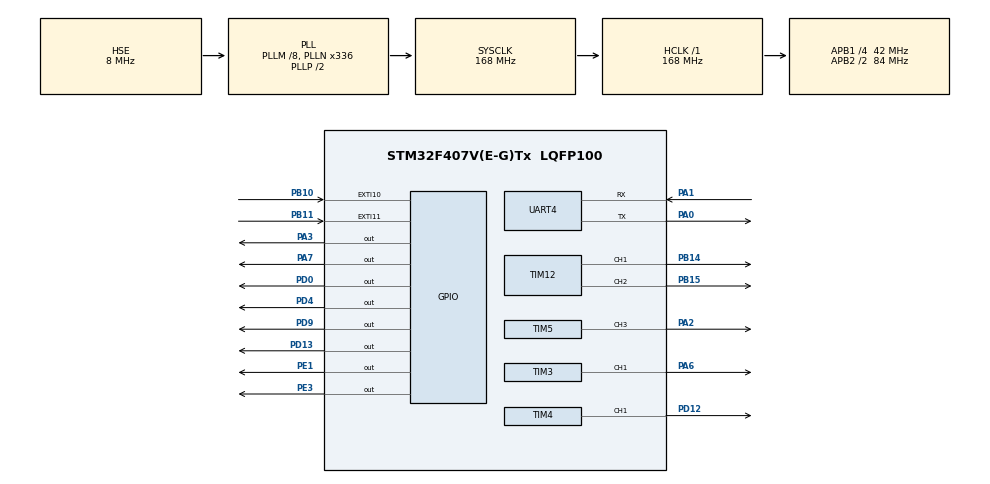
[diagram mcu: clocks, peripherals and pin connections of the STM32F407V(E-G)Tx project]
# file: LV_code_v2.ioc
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Dma.Request0=UART4_TX
Dma.Request1=UART4_RX
Dma.UART4_RX.1.Direction=DMA_PERIPH_TO_MEMORY
Dma.UART4_RX.1.FIFOMode=DMA_FIFOMODE_DISABLE
Dma.UART4_RX.1.Instance=DMA1_Stream2
Dma.UART4_RX.1.MemDataAlignment=DMA_MDATAALIGN_BYTE
Dma.UART4_RX.1.MemInc=DMA_MINC_ENABLE
Dma.UART4_RX.1.Mode=DMA_NORMAL
Dma.UART4_RX.1.PeriphDataAlignment=DMA_PDATAALIGN_BYTE
Dma.UART4_RX.1.PeriphInc=DMA_PINC_DISABLE
Dma.UART4_RX.1.Priority=DMA_PRIORITY_LOW
Dma.UART4_TX.0.Direction=DMA_MEMORY_TO_PERIPH
Dma.UART4_TX.0.FIFOMode=DMA_FIFOMODE_DISABLE
Dma.UART4_TX.0.Instance=DMA1_Stream4
Dma.UART4_TX.0.MemDataAlignment=DMA_MDATAALIGN_BYTE
Dma.UART4_TX.0.MemInc=DMA_MINC_ENABLE
Dma.UART4_TX.0.Mode=DMA_NORMAL
Dma.UART4_TX.0.PeriphDataAlignment=DMA_PDATAALIGN_BYTE
Dma.UART4_TX.0.PeriphInc=DMA_PINC_DISABLE
Dma.UART4_TX.0.Priority=DMA_PRIORITY_LOW
Mcu.Family=STM32F4
Mcu.Name=STM32F407V(E-G)Tx
Mcu.Package=LQFP100
NVIC.DMA1_Stream2_IRQn=true\:4\:0\:true\:false\:true\:false
NVIC.DMA1_Stream4_IRQn=true\:4\:0\:true\:false\:true\:false
NVIC.EXTI15_10_IRQn=true\:0\:0\:false\:false\:true\:true
NVIC.PriorityGroup=NVIC_PRIORITYGROUP_4
NVIC.TIM3_IRQn=true\:0\:0\:false\:false\:true\:true
NVIC.TIM4_IRQn=true\:0\:0\:false\:false\:true\:true
NVIC.TIM5_IRQn=true\:0\:0\:false\:false\:true\:true
NVIC.TIM8_TRG_COM_TIM14_IRQn=true\:1\:0\:true\:false\:true\:true
NVIC.UART4_IRQn=true\:4\:0\:true\:false\:true\:true
PA0-WKUP.Mode=Asynchronous
PA0-WKUP.Signal=UART4_TX
PA1.Mode=Asynchronous
PA1.Signal=UART4_RX
PA2.Signal=S_TIM5_CH3
PA3.Signal=GPIO_Output
PA6.Signal=S_TIM3_CH1
PA7.Signal=GPIO_Output
PB10.GPIO_ModeDefaultEXTI=GPIO_MODE_IT_FALLING
PB10.Signal=GPXTI10
PB11.GPIO_ModeDefaultEXTI=GPIO_MODE_IT_FALLING
PB11.Signal=GPXTI11
PB14.Signal=S_TIM12_CH1
PB15.Signal=S_TIM12_CH2
PD0.Signal=GPIO_Output
PD12.Signal=S_TIM4_CH1
PD13.Signal=GPIO_Output
PD4.Signal=GPIO_Output
PD9.Signal=GPIO_Output
PE1.Signal=GPIO_Output
PE3.Signal=GPIO_Output
PH0-OSC_IN.Mode=HSE-External-Oscillator
PH0-OSC_IN.Signal=RCC_OSC_IN
PH1-OSC_OUT.Mode=HSE-External-Oscillator
PH1-OSC_OUT.Signal=RCC_OSC_OUT
ProjectManager.HeapSize=0x200
ProjectManager.StackSize=0x400
ProjectManager.TargetToolchain=MDK-ARM V5
RCC.48MHZClocksFreq_Value=84000000
RCC.AHBFreq_Value=168000000
RCC.APB1CLKDivider=RCC_HCLK_DIV4
RCC.APB1Freq_Value=42000000
RCC.APB1TimFreq_Value=84000000
RCC.APB2CLKDivider=RCC_HCLK_DIV2
RCC.APB2Freq_Value=84000000
RCC.APB2TimFreq_Value=168000000
RCC.CortexFreq_Value=168000000
RCC.HCLKFreq_Value=168000000
RCC.HSE_VALUE=8000000
RCC.HSI_VALUE=16000000
RCC.LSE_VALUE=32768
RCC.PLLM=8
RCC.PLLN=336
RCC.PLLSourceVirtual=RCC_PLLSOURCE_HSE
RCC.SYSCLKFreq_VALUE=168000000
RCC.SYSCLKSource=RCC_SYSCLKSOURCE_PLLCLK
RCC.VCOOutputFreq_Value=336000000
SH.S_TIM12_CH1.0=TIM12_CH1,PWM Generation1 CH1
SH.S_TIM12_CH2.0=TIM12_CH2,PWM Generation2 CH2
SH.S_TIM3_CH1.0=TIM3_CH1,PWM Generation1 CH1
SH.S_TIM4_CH1.0=TIM4_CH1,PWM Generation1 CH1
SH.S_TIM5_CH3.0=TIM5_CH3,PWM Generation3 CH3
TIM12.Channel-PWM\ Generation1\ CH1=TIM_CHANNEL_1
TIM12.Channel-PWM\ Generation2\ CH2=TIM_CHANNEL_2
TIM14.Period=10000
TIM3.Channel-PWM\ Generation1\ CH1=TIM_CHANNEL_1
TIM3.CounterMode=TIM_COUNTERMODE_DOWN
TIM3.Period=0xFFFF
TIM3.Pulse-PWM\ Generation1\ CH1=168
TIM4.Channel-PWM\ Generation1\ CH1=TIM_CHANNEL_1
TIM4.CounterMode=TIM_COUNTERMODE_DOWN
TIM4.Period=0xFFFF
TIM4.Pulse-PWM\ Generation1\ CH1=168
TIM5.Channel-PWM\ Generation3\ CH3=TIM_CHANNEL_3
TIM5.CounterMode=TIM_COUNTERMODE_DOWN
TIM5.Period=0xFFFF
TIM5.Pulse-PWM\ Generation3\ CH3=168
UART4.VirtualMode=Asynchronous
VP_TIM12_VS_ClockSourceINT.Mode=Internal
VP_TIM14_VS_ClockSourceINT.Mode=Enable_Timer
VP_TIM3_VS_ClockSourceINT.Mode=Internal
VP_TIM4_VS_ClockSourceINT.Mode=Internal
VP_TIM5_VS_ClockSourceINT.Mode=Internal
board=LV_code_v2

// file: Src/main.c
/**
  ******************************************************************************
  * @file           : main.c
  * @brief          : Main program body
  ******************************************************************************
  ** This notice applies to any and all portions of this file
  * that are not between comment pairs USER CODE BEGIN and
  * USER CODE END. Other portions of this file, whether
  * inserted by the user or by software development tools
  * are owned by their respective copyright owners.
  *
  * COPYRIGHT(c) 2019 STMicroelectronics
  *
  * Redistribution and use in source and binary forms, with or without modification,
  * are permitted provided that the following conditions are met:
  *   1. Redistributions of source code must retain the above copyright notice,
  *      this list of conditions and the following disclaimer.
  *   2. Redistributions in binary form must reproduce the above copyright notice,
  *      this list of conditions and the following disclaimer in the documentation
  *      and/or other materials provided with the distribution.
  *   3. Neither the name of STMicroelectronics nor the names of its contributors
  *      may be used to endorse or promote products derived from this software
  *      without specific prior written permission.
  *
  * THIS SOFTWARE IS PROVIDED BY THE COPYRIGHT HOLDERS AND CONTRIBUTORS "AS IS"
  * AND ANY EXPRESS OR IMPLIED WARRANTIES, INCLUDING, BUT NOT LIMITED TO, THE
  * IMPLIED WARRANTIES OF MERCHANTABILITY AND FITNESS FOR A PARTICULAR PURPOSE ARE
  * DISCLAIMED. IN NO EVENT SHALL THE COPYRIGHT HOLDER OR CONTRIBUTORS BE LIABLE
  * FOR ANY DIRECT, INDIRECT, INCIDENTAL, SPECIAL, EXEMPLARY, OR CONSEQUENTIAL
  * DAMAGES (INCLUDING, BUT NOT LIMITED TO, PROCUREMENT OF SUBSTITUTE GOODS OR
  * SERVICES; LOSS OF USE, DATA, OR PROFITS; OR BUSINESS INTERRUPTION) HOWEVER
  * CAUSED AND ON ANY THEORY OF LIABILITY, WHETHER IN CONTRACT, STRICT LIABILITY,
  * OR TORT (INCLUDING NEGLIGENCE OR OTHERWISE) ARISING IN ANY WAY OUT OF THE USE
  * OF THIS SOFTWARE, EVEN IF ADVISED OF THE POSSIBILITY OF SUCH DAMAGE.
  *
  ******************************************************************************
  */
#include "main.h"
#include "stm32f4xx_hal.h"
#include "math.h"
/* USER CODE BEGIN Includes */
#include "stepperController.h"
#include "stepperCommands.h"
#include "serial.h"
/* USER CODE END Includes */

TIM_HandleTypeDef htim3;
TIM_HandleTypeDef htim4;
TIM_HandleTypeDef htim5;
TIM_HandleTypeDef htim12;
TIM_HandleTypeDef htim14;

UART_HandleTypeDef huart4;
DMA_HandleTypeDef hdma_uart4_tx;
DMA_HandleTypeDef hdma_uart4_rx;

/* USER CODE BEGIN PV */
/* Private variables ---------------------------------------------------------*/
#define a1			10.0
#define a2			10.6
#define d4			11
/* USER CODE END PV */

void SystemClock_Config(void);
static void MX_GPIO_Init(void);
static void MX_DMA_Init(void);
static void MX_UART4_Init(void);
static void MX_TIM14_Init(void);
static void MX_TIM5_Init(void);
static void MX_TIM3_Init(void);
static void MX_TIM12_Init(void);
static void MX_TIM4_Init(void);
void HAL_TIM_MspPostInit(TIM_HandleTypeDef *htim);
extern void Grap_object(int state);
extern void Set_Orient(float angle);
extern void Set_Home();
void Calib_Home();

/* USER CODE BEGIN PFP */
/* Private function prototypes -----------------------------------------------*/

/* USER CODE END PFP */

/* USER CODE BEGIN 0 */
int32_t speed=0;
uint32_t STEP_TIMER_CLOCK;
uint32_t STEP_CONTROLLER_PERIOD_US;
double joint[4];
int count1,count2;
int CalibHome=0,Set_position=0;
stepper_error state;
/* USER CODE END 0 */

int main(void)
{
  /* USER CODE BEGIN 1 */
  stepper_request stReq =  {'\0', CMD_GET, PARAM_ALL, 0, false};
  /* USER CODE END 1 */
	stepper_status Status;
  /* MCU Configuration----------------------------------------------------------*/

  /* Reset of all peripherals, Initializes the Flash interface and the Systick. */
  HAL_Init();

  /* Configure the system clock */
  SystemClock_Config();

  /* Initialize all configured peripherals */
  MX_GPIO_Init();
  MX_DMA_Init();
  MX_UART4_Init();
  MX_TIM14_Init();
  MX_TIM5_Init();
  MX_TIM3_Init();
  MX_TIM12_Init();
  MX_TIM4_Init();
  /* USER CODE BEGIN 2 */
	STEP_TIMER_CLOCK = HAL_RCC_GetHCLKFreq();
  STEP_CONTROLLER_PERIOD_US =  1000000U /(HAL_RCC_GetHCLKFreq() / htim14.Init.Period);
	Stepper_SetupPeripherals('X', &htim5, TIM_CHANNEL_3, GPIOE, GPIO_PIN_1);
  Stepper_SetupPeripherals('Y', &htim3, TIM_CHANNEL_1, GPIOD, GPIO_PIN_0);
	Stepper_SetupPeripherals('Z', &htim4, TIM_CHANNEL_1, GPIOD, GPIO_PIN_9);

	printf("\r\n");
  printf ("============== Stepper Hub ==============\r\n");
  printf ("  CPU Clock: %d MHz StepperCtrl: %d us\r\n", STEP_TIMER_CLOCK/1000000, STEP_CONTROLLER_PERIOD_US);
  printf ("=========================================\r\n\r\n");
	printf("Reading settings from internal storage...\r\n");
  Stepper_LoadConfig();

  //if (Stepper_GetAccPrescaler('Z') == 0xFFFFFFFF) {
    printf("Storage is clean, initializing defaults ...\r\n");
    Stepper_InitDefaultState('X');
		Stepper_InitDefaultState('Y');
		Stepper_InitDefaultState('Z');
    Stepper_SaveConfig();
  //}

  printf("DONE!\r\n\r\n");

	HAL_GPIO_WritePin(En_X_Port,En_X_Pin,Stop);
	HAL_GPIO_WritePin(En_Y_Port,En_Y_Pin,Stop);
	HAL_GPIO_WritePin(En_Z_Port,En_Z_Pin,Stop);
	__HAL_TIM_ENABLE_IT(&htim5, TIM_IT_UPDATE);
  __HAL_TIM_ENABLE_IT(&htim3, TIM_IT_UPDATE);
	__HAL_TIM_ENABLE_IT(&htim4, TIM_IT_UPDATE);
//	Stepper_SetAccPrescaler('X',113);
//	Stepper_SetAccPrescaler('Y',113);

	Serial_InitRxSequence();
	HAL_Delay(1);
	HAL_TIM_Base_Start_IT(&htim14);
	stReq.stepper = 'X';
  ExecuteRequest(&stReq);
	stReq.stepper = 'Y';
  ExecuteRequest(&stReq);
	stReq.stepper = 'Z';
	ExecuteRequest(&stReq);

//	Stepper_SetAccPrescaler('Z',113);

//	Stepper_SetMinSPS('X',100);
//	Stepper_SetMinSPS('Y',100);
	//Stepper_SetMinSPS('Z',1000);

//	Stepper_SetMaxSPS('X',100000);
//	Stepper_SetMaxSPS('Y',100000);
//	Stepper_SetMaxSPS('Z',10000);

	Stepper_InitDefaultState('X');
	Stepper_InitDefaultState('Y');
	Stepper_InitDefaultState('Z');
	Stepper_SetAccSPS('X',2);
	Stepper_SetAccSPS('Y',2);
	Stepper_SetAccSPS('Z',5);
	Stepper_SetCurrentPosition('Z',22000);
	state =Stepper_SetAccPrescaler('X',5000);
	state=Stepper_SetAccPrescaler('Y',5000);
	state=Stepper_SetAccPrescaler('Z',500);
//	inverse_kinetic(20.6,0,0,0,&joint[0]);
	HAL_TIM_PWM_Start(&htim12,TIM_CHANNEL_2);

	Set_Home();

  /* USER CODE END 2 */

  /* Infinite loop */
  while (1)
  {
		Calib_Home();
		//speed = Stepper_GetCurrentSPS('Y');
	}

}
void Calib_Home(){
	if(!CalibHome){
			if(count1 ==0)
			{
				HAL_GPIO_WritePin(En_X_Port,En_X_Pin,Start);
				Stepper_SetTargetPosition('X',Stepper_GetCurrentPosition('X')+2);
			}
			else{
				if(count2 ==0)
				{
					HAL_GPIO_WritePin(En_Y_Port,En_Y_Pin,Start);

					Stepper_SetTargetPosition('Y',Stepper_GetCurrentPosition('Y')-2);
					speed=Stepper_GetCurrentPosition('Y')-2;
				}
			}
		}
	if(Set_position){
			if(Stepper_GetStatus('X')==SS_STOPPED){
				if(Stepper_GetStatus('Y')==SS_STOPPED){
						Stepper_SetCurrentPosition('X',Max_X_Pos);
						Stepper_SetCurrentPosition('Y',-(Max_Y_Pos));
							Stepper_SetCurrentPosition('Z',22000);
						Set_position=0;
				}
		}
	}
}
void HAL_GPIO_EXTI_Callback(uint16_t GPIO_Pin){
	if(GPIO_Pin==GPIO_PIN_10){
		count1++;
	}
		if(GPIO_Pin==GPIO_PIN_11){
		count2++;
		HAL_GPIO_WritePin(En_X_Port,En_X_Pin,Stop);
		HAL_GPIO_WritePin(En_Y_Port,En_Y_Pin,Stop);
		HAL_GPIO_WritePin(En_Z_Port,En_Z_Pin,Stop);
		Set_position =1;
	}
}
void Set_Home(){
	count1 =0;
	count2 =0;
	CalibHome =0;
	if(HAL_GPIO_ReadPin(GPIOB,GPIO_PIN_11)==0||HAL_GPIO_ReadPin(GPIOB,GPIO_PIN_10)==0)
	{
		if(HAL_GPIO_ReadPin(GPIOB,GPIO_PIN_11)==0&&HAL_GPIO_ReadPin(GPIOB,GPIO_PIN_10)==0)
			{
				Set_position =1;
			}
		HAL_GPIO_WritePin(En_X_Port,En_X_Pin,Stop);
		HAL_GPIO_WritePin(En_Y_Port,En_Y_Pin,Stop);
		HAL_GPIO_WritePin(En_Z_Port,En_Z_Pin,Stop);
		HAL_TIM_PWM_Stop(&htim12,TIM_CHANNEL_1);
		CalibHome =1;
	}
}
void inverse_kinetic(double x,double y, double z,double anpha,double* joints){
	//calculate d1 theta1 theta2 theta4
	double c2,s2_1,s2_2,temp[2];
	c2 = (pow(x,2)+pow(y,2)-pow(a1,2)-pow(a2,2))/(2*a1*a2);
	s2_1 = sqrt(1-pow(c2,2));
	s2_2 = -sqrt(1-pow(c2,2));
	joints[0] = z + d4;
	joints[2] = atan2(s2_1,c2);
	joints[1] = atan2(y,x) - atan2(a2*sin(joints[2]),a1+a2*cos(joints[2]));
	joints[3] = joints[1] + joints[2] - anpha;
	temp[0]= atan2(s2_2,c2);
	temp[1]= atan2(y,x) - atan2(a2*sin(temp[0]),a1+a2*cos(temp[0]));
	if((fabs(temp[0])+fabs(temp[1]))<(fabs(joints[1])+fabs(joints[2]))){
		joints[2]=temp[0];
		joints[1]=temp[1];				//get the minimum value of theta
	}
}
void Grap_object(int state)
{
	if(state == 1){
	HAL_TIM_PWM_Start(&htim12,TIM_CHANNEL_1);
	__HAL_TIM_SetCompare(&htim12,TIM_CHANNEL_1,2100);
	}
	else{
	HAL_TIM_PWM_Start(&htim12,TIM_CHANNEL_1);
	__HAL_TIM_SetCompare(&htim12,TIM_CHANNEL_1,1600);
	}
//		HAL_Delay(60);
//		HAL_TIM_PWM_Stop(&htim12,TIM_CHANNEL_1);
}
void Set_Orient(float angle)
{
	__HAL_TIM_SetCompare(&htim12,TIM_CHANNEL_2,angle*2100/180+500);
}

void SystemClock_Config(void)
{

  RCC_OscInitTypeDef RCC_OscInitStruct;
  RCC_ClkInitTypeDef RCC_ClkInitStruct;

    /**Configure the main internal regulator output voltage
    */
  __HAL_RCC_PWR_CLK_ENABLE();

  __HAL_PWR_VOLTAGESCALING_CONFIG(PWR_REGULATOR_VOLTAGE_SCALE1);

    /**Initializes the CPU, AHB and APB busses clocks
    */
  RCC_OscInitStruct.OscillatorType = RCC_OSCILLATORTYPE_HSE;
  RCC_OscInitStruct.HSEState = RCC_HSE_ON;
  RCC_OscInitStruct.PLL.PLLState = RCC_PLL_ON;
  RCC_OscInitStruct.PLL.PLLSource = RCC_PLLSOURCE_HSE;
  RCC_OscInitStruct.PLL.PLLM = 8;
  RCC_OscInitStruct.PLL.PLLN = 336;
  RCC_OscInitStruct.PLL.PLLP = RCC_PLLP_DIV2;
  RCC_OscInitStruct.PLL.PLLQ = 4;
  if (HAL_RCC_OscConfig(&RCC_OscInitStruct) != HAL_OK)
  {
    _Error_Handler(__FILE__, __LINE__);
  }

    /**Initializes the CPU, AHB and APB busses clocks
    */
  RCC_ClkInitStruct.ClockType = RCC_CLOCKTYPE_HCLK|RCC_CLOCKTYPE_SYSCLK
                              |RCC_CLOCKTYPE_PCLK1|RCC_CLOCKTYPE_PCLK2;
  RCC_ClkInitStruct.SYSCLKSource = RCC_SYSCLKSOURCE_PLLCLK;
  RCC_ClkInitStruct.AHBCLKDivider = RCC_SYSCLK_DIV1;
  RCC_ClkInitStruct.APB1CLKDivider = RCC_HCLK_DIV4;
  RCC_ClkInitStruct.APB2CLKDivider = RCC_HCLK_DIV2;

  if (HAL_RCC_ClockConfig(&RCC_ClkInitStruct, FLASH_LATENCY_5) != HAL_OK)
  {
    _Error_Handler(__FILE__, __LINE__);
  }

    /**Configure the Systick interrupt time
    */
  HAL_SYSTICK_Config(HAL_RCC_GetHCLKFreq()/1000);

    /**Configure the Systick
    */
  HAL_SYSTICK_CLKSourceConfig(SYSTICK_CLKSOURCE_HCLK);

  /* SysTick_IRQn interrupt configuration */
  HAL_NVIC_SetPriority(SysTick_IRQn, 2, 0);
}

/* TIM3 init function */
static void MX_TIM3_Init(void)
{

  TIM_ClockConfigTypeDef sClockSourceConfig;
  TIM_MasterConfigTypeDef sMasterConfig;
  TIM_OC_InitTypeDef sConfigOC;

  htim3.Instance = TIM3;
  htim3.Init.Prescaler = 0;
  htim3.Init.CounterMode = TIM_COUNTERMODE_DOWN;
  htim3.Init.Period = 0xFFFF;
  htim3.Init.ClockDivision = TIM_CLOCKDIVISION_DIV1;
  if (HAL_TIM_Base_Init(&htim3) != HAL_OK)
  {
    _Error_Handler(__FILE__, __LINE__);
  }

  sClockSourceConfig.ClockSource = TIM_CLOCKSOURCE_INTERNAL;
  if (HAL_TIM_ConfigClockSource(&htim3, &sClockSourceConfig) != HAL_OK)
  {
    _Error_Handler(__FILE__, __LINE__);
  }

  if (HAL_TIM_PWM_Init(&htim3) != HAL_OK)
  {
    _Error_Handler(__FILE__, __LINE__);
  }

  sMasterConfig.MasterOutputTrigger = TIM_TRGO_RESET;
  sMasterConfig.MasterSlaveMode = TIM_MASTERSLAVEMODE_DISABLE;
  if (HAL_TIMEx_MasterConfigSynchronization(&htim3, &sMasterConfig) != HAL_OK)
  {
    _Error_Handler(__FILE__, __LINE__);
  }

  sConfigOC.OCMode = TIM_OCMODE_PWM1;
  sConfigOC.Pulse = 168;
  sConfigOC.OCPolarity = TIM_OCPOLARITY_HIGH;
  sConfigOC.OCFastMode = TIM_OCFAST_DISABLE;
  if (HAL_TIM_PWM_ConfigChannel(&htim3, &sConfigOC, TIM_CHANNEL_1) != HAL_OK)
  {
    _Error_Handler(__FILE__, __LINE__);
  }

  HAL_TIM_MspPostInit(&htim3);

}

/* TIM4 init function */
static void MX_TIM4_Init(void)
{

  TIM_ClockConfigTypeDef sClockSourceConfig;
  TIM_MasterConfigTypeDef sMasterConfig;
  TIM_OC_InitTypeDef sConfigOC;

  htim4.Instance = TIM4;
  htim4.Init.Prescaler = 0;
  htim4.Init.CounterMode = TIM_COUNTERMODE_DOWN;
  htim4.Init.Period = 0xFFFF;
  htim4.Init.ClockDivision = TIM_CLOCKDIVISION_DIV1;
  if (HAL_TIM_Base_Init(&htim4) != HAL_OK)
  {
    _Error_Handler(__FILE__, __LINE__);
  }

  sClockSourceConfig.ClockSource = TIM_CLOCKSOURCE_INTERNAL;
  if (HAL_TIM_ConfigClockSource(&htim4, &sClockSourceConfig) != HAL_OK)
  {
    _Error_Handler(__FILE__, __LINE__);
  }

  if (HAL_TIM_PWM_Init(&htim4) != HAL_OK)
  {
    _Error_Handler(__FILE__, __LINE__);
  }

  sMasterConfig.MasterOutputTrigger = TIM_TRGO_RESET;
  sMasterConfig.MasterSlaveMode = TIM_MASTERSLAVEMODE_DISABLE;
  if (HAL_TIMEx_MasterConfigSynchronization(&htim4, &sMasterConfig) != HAL_OK)
  {
    _Error_Handler(__FILE__, __LINE__);
  }

  sConfigOC.OCMode = TIM_OCMODE_PWM1;
  sConfigOC.Pulse = 168;
  sConfigOC.OCPolarity = TIM_OCPOLARITY_HIGH;
  sConfigOC.OCFastMode = TIM_OCFAST_DISABLE;
  if (HAL_TIM_PWM_ConfigChannel(&htim4, &sConfigOC, TIM_CHANNEL_1) != HAL_OK)
  {
    _Error_Handler(__FILE__, __LINE__);
  }

  HAL_TIM_MspPostInit(&htim4);

}

/* TIM5 init function */
static void MX_TIM5_Init(void)
{

  TIM_ClockConfigTypeDef sClockSourceConfig;
  TIM_MasterConfigTypeDef sMasterConfig;
  TIM_OC_InitTypeDef sConfigOC;

  htim5.Instance = TIM5;
  htim5.Init.Prescaler = 0;
  htim5.Init.CounterMode = TIM_COUNTERMODE_DOWN;
  htim5.Init.Period = 0xFFFF;
  htim5.Init.ClockDivision = TIM_CLOCKDIVISION_DIV1;
  if (HAL_TIM_Base_Init(&htim5) != HAL_OK)
  {
    _Error_Handler(__FILE__, __LINE__);
  }

  sClockSourceConfig.ClockSource = TIM_CLOCKSOURCE_INTERNAL;
  if (HAL_TIM_ConfigClockSource(&htim5, &sClockSourceConfig) != HAL_OK)
  {
    _Error_Handler(__FILE__, __LINE__);
  }

  if (HAL_TIM_PWM_Init(&htim5) != HAL_OK)
  {
    _Error_Handler(__FILE__, __LINE__);
  }

  sMasterConfig.MasterOutputTrigger = TIM_TRGO_RESET;
  sMasterConfig.MasterSlaveMode = TIM_MASTERSLAVEMODE_DISABLE;
  if (HAL_TIMEx_MasterConfigSynchronization(&htim5, &sMasterConfig) != HAL_OK)
  {
    _Error_Handler(__FILE__, __LINE__);
  }

  sConfigOC.OCMode = TIM_OCMODE_PWM1;
  sConfigOC.Pulse = 168;
  sConfigOC.OCPolarity = TIM_OCPOLARITY_HIGH;
  sConfigOC.OCFastMode = TIM_OCFAST_DISABLE;
  if (HAL_TIM_PWM_ConfigChannel(&htim5, &sConfigOC, TIM_CHANNEL_3) != HAL_OK)
  {
    _Error_Handler(__FILE__, __LINE__);
  }

  HAL_TIM_MspPostInit(&htim5);

}

/* TIM12 init function */
static void MX_TIM12_Init(void)
{

  TIM_ClockConfigTypeDef sClockSourceConfig;
  TIM_OC_InitTypeDef sConfigOC;

  htim12.Instance = TIM12;
  htim12.Init.Prescaler = 84;
  htim12.Init.CounterMode = TIM_COUNTERMODE_UP;
  htim12.Init.Period = 20000;
  htim12.Init.ClockDivision = TIM_CLOCKDIVISION_DIV1;
  if (HAL_TIM_Base_Init(&htim12) != HAL_OK)
  {
    _Error_Handler(__FILE__, __LINE__);
  }

  sClockSourceConfig.ClockSource = TIM_CLOCKSOURCE_INTERNAL;
  if (HAL_TIM_ConfigClockSource(&htim12, &sClockSourceConfig) != HAL_OK)
  {
    _Error_Handler(__FILE__, __LINE__);
  }

  if (HAL_TIM_PWM_Init(&htim12) != HAL_OK)
  {
    _Error_Handler(__FILE__, __LINE__);
  }

  sConfigOC.OCMode = TIM_OCMODE_PWM1;
  sConfigOC.Pulse = 0;
  sConfigOC.OCPolarity = TIM_OCPOLARITY_HIGH;
  sConfigOC.OCFastMode = TIM_OCFAST_DISABLE;
  if (HAL_TIM_PWM_ConfigChannel(&htim12, &sConfigOC, TIM_CHANNEL_1) != HAL_OK)
  {
    _Error_Handler(__FILE__, __LINE__);
  }

  if (HAL_TIM_PWM_ConfigChannel(&htim12, &sConfigOC, TIM_CHANNEL_2) != HAL_OK)
  {
    _Error_Handler(__FILE__, __LINE__);
  }

  HAL_TIM_MspPostInit(&htim12);

}

/* TIM14 init function */
static void MX_TIM14_Init(void)
{

  htim14.Instance = TIM14;
  htim14.Init.Prescaler = 0;
  htim14.Init.CounterMode = TIM_COUNTERMODE_UP;
  htim14.Init.Period = 8400;
  htim14.Init.ClockDivision = TIM_CLOCKDIVISION_DIV1;
  if (HAL_TIM_Base_Init(&htim14) != HAL_OK)
  {
    _Error_Handler(__FILE__, __LINE__);
  }

}

/* UART4 init function */
static void MX_UART4_Init(void)
{

  huart4.Instance = UART4;
  huart4.Init.BaudRate = 115200;
  huart4.Init.WordLength = UART_WORDLENGTH_8B;
  huart4.Init.StopBits = UART_STOPBITS_1;
  huart4.Init.Parity = UART_PARITY_NONE;
  huart4.Init.Mode = UART_MODE_TX_RX;
  huart4.Init.HwFlowCtl = UART_HWCONTROL_NONE;
  huart4.Init.OverSampling = UART_OVERSAMPLING_16;
  if (HAL_UART_Init(&huart4) != HAL_OK)
  {
    _Error_Handler(__FILE__, __LINE__);
  }

}

static void MX_DMA_Init(void)
{
  /* DMA controller clock enable */
  __HAL_RCC_DMA1_CLK_ENABLE();

  /* DMA interrupt init */
  /* DMA1_Stream2_IRQn interrupt configuration */
  HAL_NVIC_SetPriority(DMA1_Stream2_IRQn, 4, 0);
  HAL_NVIC_EnableIRQ(DMA1_Stream2_IRQn);
  /* DMA1_Stream4_IRQn interrupt configuration */
  HAL_NVIC_SetPriority(DMA1_Stream4_IRQn, 4, 0);
  HAL_NVIC_EnableIRQ(DMA1_Stream4_IRQn);

}

/** Configure pins as
        * Analog
        * Input
        * Output
        * EVENT_OUT
        * EXTI
*/
static void MX_GPIO_Init(void)
{

  GPIO_InitTypeDef GPIO_InitStruct;

  /* GPIO Ports Clock Enable */
  __HAL_RCC_GPIOE_CLK_ENABLE();
  __HAL_RCC_GPIOH_CLK_ENABLE();
  __HAL_RCC_GPIOA_CLK_ENABLE();
  __HAL_RCC_GPIOB_CLK_ENABLE();
  __HAL_RCC_GPIOD_CLK_ENABLE();

  /*Configure GPIO pin Output Level */
  HAL_GPIO_WritePin(GPIOE, GPIO_PIN_3|GPIO_PIN_1, GPIO_PIN_RESET);

  /*Configure GPIO pin Output Level */
  HAL_GPIO_WritePin(GPIOA, GPIO_PIN_3|GPIO_PIN_7, GPIO_PIN_RESET);

  /*Configure GPIO pin Output Level */
  HAL_GPIO_WritePin(GPIOD, GPIO_PIN_9|GPIO_PIN_13|GPIO_PIN_0|GPIO_PIN_4, GPIO_PIN_RESET);

  /*Configure GPIO pins : PE3 PE1 */
  GPIO_InitStruct.Pin = GPIO_PIN_3|GPIO_PIN_1;
  GPIO_InitStruct.Mode = GPIO_MODE_OUTPUT_PP;
  GPIO_InitStruct.Pull = GPIO_NOPULL;
  GPIO_InitStruct.Speed = GPIO_SPEED_FREQ_LOW;
  HAL_GPIO_Init(GPIOE, &GPIO_InitStruct);

  /*Configure GPIO pins : PA3 PA7 */
  GPIO_InitStruct.Pin = GPIO_PIN_3|GPIO_PIN_7;
  GPIO_InitStruct.Mode = GPIO_MODE_OUTPUT_PP;
  GPIO_InitStruct.Pull = GPIO_NOPULL;
  GPIO_InitStruct.Speed = GPIO_SPEED_FREQ_LOW;
  HAL_GPIO_Init(GPIOA, &GPIO_InitStruct);

  /*Configure GPIO pins : PB10 PB11 */
  GPIO_InitStruct.Pin = GPIO_PIN_10|GPIO_PIN_11;
  GPIO_InitStruct.Mode = GPIO_MODE_IT_FALLING;
  GPIO_InitStruct.Pull = GPIO_NOPULL;
  HAL_GPIO_Init(GPIOB, &GPIO_InitStruct);

  /*Configure GPIO pins : PD9 PD13 PD0 PD4 */
  GPIO_InitStruct.Pin = GPIO_PIN_9|GPIO_PIN_13|GPIO_PIN_0|GPIO_PIN_4;
  GPIO_InitStruct.Mode = GPIO_MODE_OUTPUT_PP;
  GPIO_InitStruct.Pull = GPIO_NOPULL;
  GPIO_InitStruct.Speed = GPIO_SPEED_FREQ_LOW;
  HAL_GPIO_Init(GPIOD, &GPIO_InitStruct);

  /* EXTI interrupt init*/
  HAL_NVIC_SetPriority(EXTI15_10_IRQn, 0, 0);
  HAL_NVIC_EnableIRQ(EXTI15_10_IRQn);

}

void _Error_Handler(char *file, int line)
{
  while(1)
  {
  }
}

/************************ (C) COPYRIGHT STMicroelectronics *****END OF FILE****/
